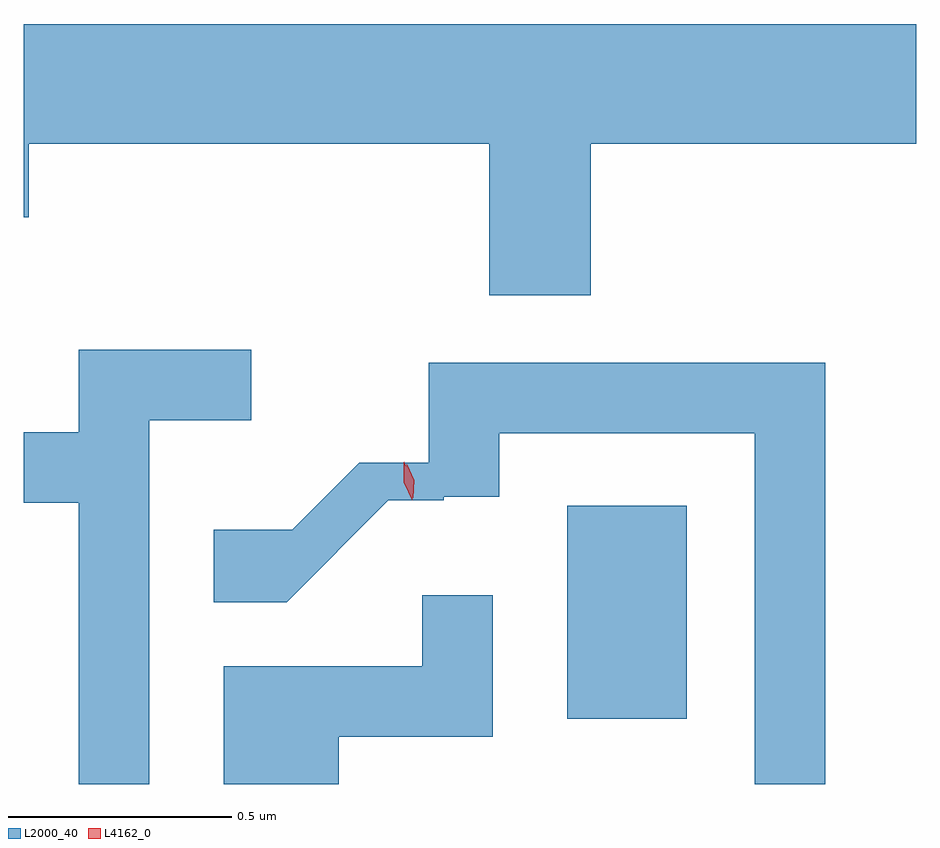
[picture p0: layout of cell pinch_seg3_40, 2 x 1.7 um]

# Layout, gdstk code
import gdstk
lib = gdstk.Library(unit=1e-6, precision=1e-09)
def R(c, l, rs):  # rectangles x0, y0, x1, y1
    for r in rs: c.add(gdstk.rectangle(r[:2], r[2:], *l))
def P(c, l, *ps):  # polygons
    for p in ps: c.add(gdstk.Polygon(p, *l))
L2000_40 = (2000, 40)
L4162_0 = (4162, 0)

pinch_seg3_40 = lib.new_cell('pinch_seg3_40')
R(pinch_seg3_40, L2000_40, [(1875.486,1220.186,1875.754,1220.664)])
P(pinch_seg3_40, L2000_40, [(1875.539,1221.476),(1876.268,1221.476),(1876.268,1221.744),(1874.268,1221.744),(1874.268,1221.311),(1874.279,1221.311),(1874.279,1221.476),(1875.311,1221.476),(1875.311,1221.136),(1875.539,1221.136)],
  [(1874.549,1220.856),(1874.778,1220.856),(1874.778,1221.014),(1874.391,1221.014),(1874.391,1220.829),(1874.268,1220.829),(1874.268,1220.671),(1874.391,1220.671),(1874.391,1220.04),(1874.549,1220.04)],
  [(1876.064,1220.984),(1875.176,1220.984),(1875.176,1220.76),(1875.02,1220.76),(1874.87,1220.61),(1874.693,1220.61),(1874.693,1220.448),(1874.857,1220.448),(1875.085,1220.676),(1875.209,1220.676),(1875.209,1220.684),(1875.334,1220.684),(1875.334,1220.826),(1875.906,1220.826),(1875.906,1220.04),(1876.064,1220.04)],
  [(1874.974,1220.146),(1875.319,1220.146),(1875.319,1220.463),(1875.161,1220.463),(1875.161,1220.304),(1874.716,1220.304),(1874.716,1220.04),(1874.974,1220.04)])
P(pinch_seg3_40, L4162_0, [(1875.138,1220.676),(1875.12,1220.717),(1875.12,1220.761),(1875.121,1220.762),(1875.121,1220.761),(1875.14,1220.721),(1875.139,1220.676),(1875.139,1220.676)],
  [(1875.14,1220.682),(1875.14,1220.682),(1875.124,1220.718),(1875.126,1220.756),(1875.126,1220.757),(1875.127,1220.756),(1875.143,1220.721),(1875.141,1220.682)])

lib.write_gds('pinch_seg3_40.gds')
